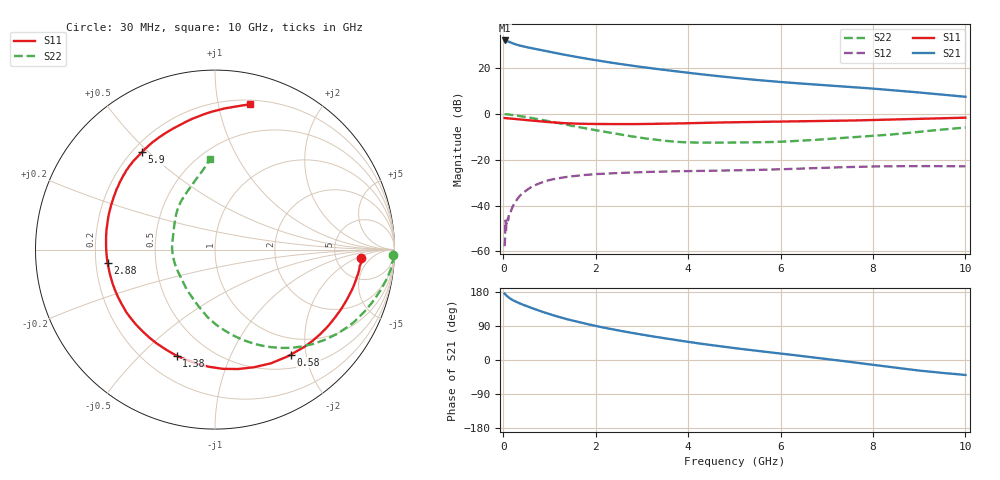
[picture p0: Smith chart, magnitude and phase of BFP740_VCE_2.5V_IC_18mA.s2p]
! Infineon Technologies  Discrete & RF Semiconductors
! BFP740
! VCE =  2.5 V,  IC =  18 mA
! Common Emitter S-Parameters:  Jan 2016
# GHz  S  MA  R  50
!  f  S11  S21  S12  S22
! GHz  MAG  ANG  MAG  ANG  MAG  ANG  MAG  ANG
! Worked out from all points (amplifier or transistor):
!   229 points, 30 MHz to 10 GHz, reference 50 ohm
!   highest |S21| = 32.1 dB at 30 MHz (marker M1)
!   |S21| within 3 dB of that: start of sweep to 525.4 MHz
!   unconditionally stable (mu >= 1): 6.5 GHz to end of sweep
!   at 280 MHz: K = 0.21, MSG = 34.1 dB, |S12| = -37.9 dB
!   at 1.78 GHz: K = 0.42, MSG = 25.4 dB, |S12| = -26.6 dB
!   at 10 GHz: K = 1.03, MAG = 14.1 dB, |S12| = -22.9 dB
!   S11 on the Smith chart (normalised r, x): 30 MHz: 9.22, -2.53; 580 MHz: 0.71, -1.73; 1.38 GHz: 0.33, -0.65; 2.88 GHz: 0.25, -0.06; 5.9 GHz: 0.24, +0.48; 10 GHz: 0.24, +1.24
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0.03  0.8169 -3.2  40.38 175.3  0.0013 91.2  0.9902 -1.9
0.05  0.8178 -5.2  40.18 172.9  0.0047 105.9  0.996 -3.4
0.06  0.8112 -6.5  39.93 171.3  0.0027 74.0  0.9883 -4.4
0.11  0.8038 -11.9  38.21 165.8  0.0049 83.7  0.9788 -8.0
0.2  0.7858 -20.8  35.13 158.4  0.0092 81.9  0.9498 -13.8
0.34  0.7616 -33.4  31.56 150.4  0.0155 72.6  0.9073 -21.5
0.4  0.7518 -38.9  30.52 147.3  0.018 70.4  0.8887 -24.7
0.58  0.7216 -54.1  27.83 138.9  0.0244 63.1  0.8313 -33.8
0.8  0.6903 -71.8  25.12 129.1  0.0311 54.8  0.7577 -44.0
0.9  0.6776 -79.1  23.98 125.0  0.0337 51.8  0.7238 -48.3
1.18  0.6449 -97.9  21.02 114.4  0.0393 43.5  0.6345 -59.2
1.38  0.6281 -109.9  19.23 107.7  0.0423 39.0  0.5793 -66.0
1.7  0.6117 -126.8  16.82 98.1  0.0461 33.1  0.5027 -76.0
2.22  0.6021 -149.8  13.78 84.3  0.0499 25.7  0.4056 -91.3
2.88  0.6032 -173.0  11.03 69.5  0.0531 19.0  0.3132 -110.1
3.4  0.6124 171.8  9.416 59.1  0.055 14.9  0.2675 -127.4
4.3  0.6388 150.4  7.345 42.6  0.0573 9.4  0.237 -159.0
5.1  0.664 136.8  6.032 29.9  0.0592 6.0  0.2392 179.0
5.9  0.6785 127.0  5.097 18.5  0.0617 3.4  0.2459 161.6
6.8  0.699 116.3  4.36 5.5  0.0662 -0.6  0.2743 144.5
8.4  0.7589 94.0  3.329 -18.9  0.0724 -10.8  0.3569 115.9
10  0.8317 76.6  2.378 -39.5  0.072 -19.8  0.5063 93.1
